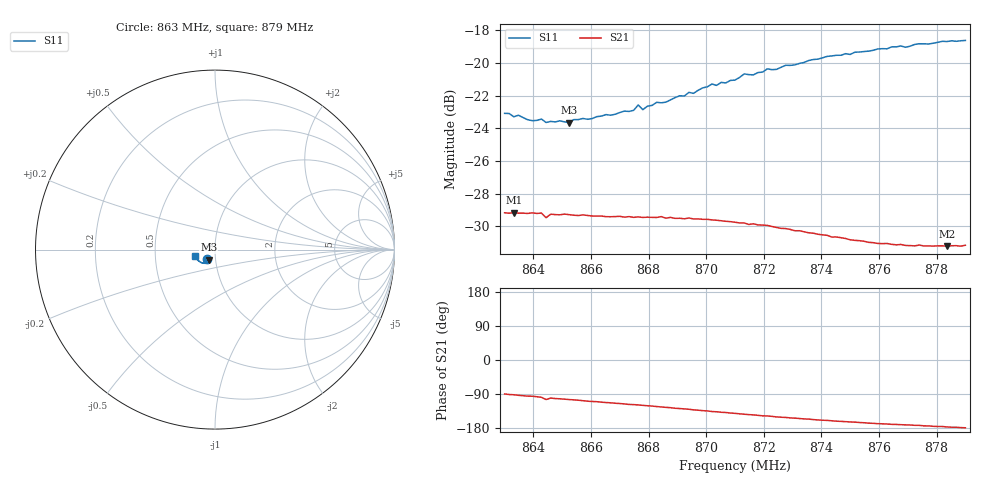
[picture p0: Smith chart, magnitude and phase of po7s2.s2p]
# HZ S RI R 50
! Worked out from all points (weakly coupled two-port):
!   101 points, 863 MHz to 879 MHz, reference 50 ohm
!   highest |S21| = -29.16 dB at 863.32 MHz (marker M1); lowest = -31.2 dB at 878.36 MHz (marker M2)
!   lowest |S11| = -23.6 dB at 865.24 MHz (marker M3), VSWR 1.14, Z = 46.4 - j5.22 ohm
!   |S11| at or under -10 dB: start of sweep to end of sweep
!   S12 and S22 are empty: the file has one direction only
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8.63e8  -0.0436 -0.055  0.000217 -0.0348  0 0  0 0
8.6332e8  -0.0426 -0.0535  -0.00109 -0.0348  0 0  0 0
8.6428e8  -0.0386 -0.0552  -0.00509 -0.0343  0 0  0 0
8.6444e8  -0.0377 -0.0538  -0.00834 -0.0325  0 0  0 0
8.646e8  -0.0376 -0.0545  -0.00621 -0.0339  0 0  0 0
8.6524e8  -0.0344 -0.056  -0.0085 -0.0333  0 0  0 0
8.6572e8  -0.0353 -0.0577  -0.0102 -0.0327  0 0  0 0
8.6748e8  -0.0327 -0.0638  -0.0156 -0.0298  0 0  0 0
8.6764e8  -0.0362 -0.065  -0.0161 -0.0297  0 0  0 0
8.678e8  -0.0342 -0.0633  -0.0166 -0.0293  0 0  0 0
8.6844e8  -0.0355 -0.0667  -0.0189 -0.0281  0 0  0 0
8.6956e8  -0.0405 -0.0699  -0.0221 -0.0249  0 0  0 0
8.702e8  -0.0439 -0.0742  -0.0238 -0.023  0 0  0 0
8.71e8  -0.0482 -0.0744  -0.0252 -0.0206  0 0  0 0
8.7132e8  -0.0515 -0.077  -0.0259 -0.0194  0 0  0 0
8.7164e8  -0.0517 -0.0761  -0.0263 -0.0185  0 0  0 0
8.7212e8  -0.0582 -0.0764  -0.0269 -0.017  0 0  0 0
8.7244e8  -0.0589 -0.0754  -0.0272 -0.0156  0 0  0 0
8.7372e8  -0.0692 -0.0757  -0.0278 -0.0117  0 0  0 0
8.7644e8  -0.094 -0.0611  -0.0274 -0.00492  0 0  0 0
8.7836e8  -0.1075 -0.0447  -0.0274 -0.00159  0 0  0 0
8.79e8  -0.1109 -0.0383  -0.0276 -0.000556  0 0  0 0
